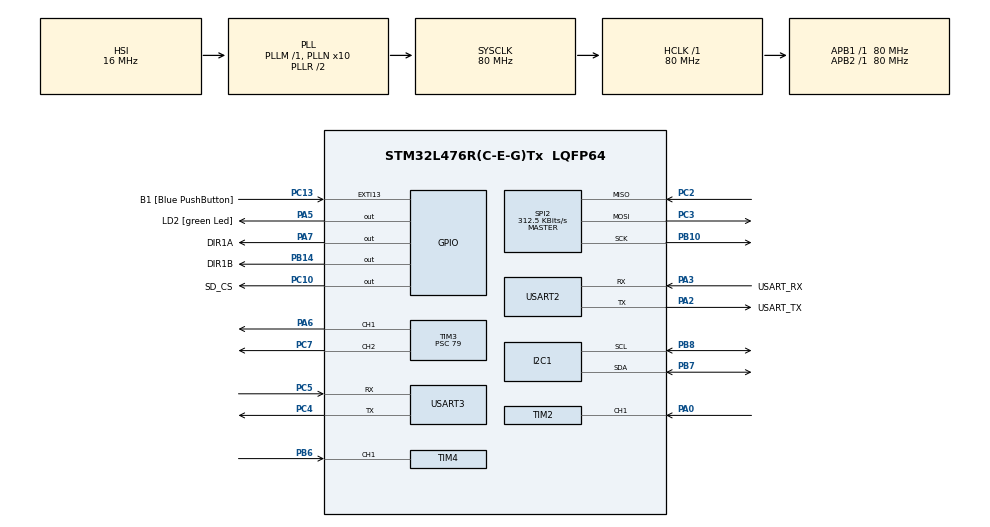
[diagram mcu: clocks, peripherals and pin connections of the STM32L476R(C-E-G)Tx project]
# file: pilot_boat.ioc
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I2C1.CustomTiming=Enabled
I2C1.Timing=0x10D19CE4
Mcu.Family=STM32L4
Mcu.Name=STM32L476R(C-E-G)Tx
Mcu.Package=LQFP64
NVIC.PriorityGroup=NVIC_PRIORITYGROUP_4
NVIC.TIM2_IRQn=true\:8\:0\:true\:false\:true\:true\:true\:true
NVIC.TIM3_IRQn=true\:10\:0\:true\:false\:true\:true\:true\:true
NVIC.TIM4_IRQn=true\:10\:0\:true\:false\:true\:true\:true\:true
NVIC.TIM6_DAC_IRQn=true\:0\:0\:false\:false\:true\:true\:true\:true
PA0.Signal=S_TIM2_CH1
PA13\ (JTMS-SWDIO).GPIO_Label=TMS
PA13\ (JTMS-SWDIO).Mode=Serial_Wire
PA13\ (JTMS-SWDIO).Signal=SYS_JTMS-SWDIO
PA14\ (JTCK-SWCLK).GPIO_Label=TCK
PA14\ (JTCK-SWCLK).Mode=Serial_Wire
PA14\ (JTCK-SWCLK).Signal=SYS_JTCK-SWCLK
PA2.GPIO_Label=USART_TX
PA2.GPIO_Mode=GPIO_MODE_AF_PP
PA2.GPIO_PuPd=GPIO_NOPULL
PA2.GPIO_Speed=GPIO_SPEED_FREQ_VERY_HIGH
PA2.Mode=Asynchronous
PA2.Signal=USART2_TX
PA3.GPIO_Label=USART_RX
PA3.GPIO_Mode=GPIO_MODE_AF_PP
PA3.GPIO_PuPd=GPIO_NOPULL
PA3.GPIO_Speed=GPIO_SPEED_FREQ_VERY_HIGH
PA3.Mode=Asynchronous
PA3.Signal=USART2_RX
PA5.GPIO_Label=LD2 [green Led]
PA5.GPIO_ModeDefaultOutputPP=GPIO_MODE_OUTPUT_PP
PA5.GPIO_PuPd=GPIO_NOPULL
PA5.GPIO_Speed=GPIO_SPEED_FREQ_LOW
PA5.Signal=GPIO_Output
PA6.Signal=S_TIM3_CH1
PA7.GPIO_Label=DIR1A
PA7.Signal=GPIO_Output
PB10.Mode=Full_Duplex_Master
PB10.Signal=SPI2_SCK
PB14.GPIO_Label=DIR1B
PB14.Signal=GPIO_Output
PB3\ (JTDO-TRACESWO).GPIO_Label=SWO
PB3\ (JTDO-TRACESWO).Signal=SYS_JTDO-SWO
PB6.Signal=S_TIM4_CH1
PB7.Mode=I2C
PB7.Signal=I2C1_SDA
PB8.Mode=I2C
PB8.Signal=I2C1_SCL
PC10.GPIO_Label=SD_CS
PC10.Signal=GPIO_Output
PC13.GPIO_Label=B1 [Blue PushButton]
PC13.GPIO_ModeDefaultEXTI=GPIO_MODE_IT_FALLING
PC13.GPIO_PuPd=GPIO_NOPULL
PC13.Signal=GPXTI13
PC14-OSC32_IN\ (PC14).Mode=LSE-External-Oscillator
PC14-OSC32_IN\ (PC14).Signal=RCC_OSC32_IN
PC15-OSC32_OUT\ (PC15).Mode=LSE-External-Oscillator
PC15-OSC32_OUT\ (PC15).Signal=RCC_OSC32_OUT
PC2.Mode=Full_Duplex_Master
PC2.Signal=SPI2_MISO
PC3.Mode=Full_Duplex_Master
PC3.Signal=SPI2_MOSI
PC4.Mode=Asynchronous
PC4.Signal=USART3_TX
PC5.Mode=Asynchronous
PC5.Signal=USART3_RX
PC7.Signal=S_TIM3_CH2
PH0-OSC_IN\ (PH0).Signal=RCC_OSC_IN
PH1-OSC_OUT\ (PH1).Signal=RCC_OSC_OUT
ProjectManager.HeapSize=0x200
ProjectManager.StackSize=0x400
ProjectManager.TargetToolchain=STM32CubeIDE
RCC.ADCFreq_Value=64000000
RCC.AHBFreq_Value=80000000
RCC.APB1Freq_Value=80000000
RCC.APB1TimFreq_Value=80000000
RCC.APB2Freq_Value=80000000
RCC.APB2TimFreq_Value=80000000
RCC.CortexFreq_Value=80000000
RCC.HCLKFreq_Value=80000000
RCC.HSE_VALUE=8000000
RCC.HSI_VALUE=16000000
RCC.MSI_VALUE=4000000
RCC.PLLN=10
RCC.PLLSourceVirtual=RCC_PLLSOURCE_HSI
RCC.PREFETCH_ENABLE=1
RCC.SYSCLKFreq_VALUE=80000000
RCC.SYSCLKSource=RCC_SYSCLKSOURCE_PLLCLK
RCC.USBFreq_Value=64000000
RCC.VCOOutputFreq_Value=160000000
SH.S_TIM2_CH1.0=TIM2_CH1,Input_Capture1_from_TI1
SH.S_TIM2_CH1.1=TIM2_CH1,TriggerSource_TI1FP1
SH.S_TIM3_CH1.0=TIM3_CH1,PWM Generation1 CH1
SH.S_TIM3_CH2.0=TIM3_CH2,PWM Generation2 CH2
SH.S_TIM4_CH1.0=TIM4_CH1,TriggerSource_TI1FP1
SH.S_TIM4_CH1.1=TIM4_CH1,Input_Capture1_from_TI1
SPI2.BaudRatePrescaler=SPI_BAUDRATEPRESCALER_256
SPI2.CalculateBaudRate=312.5 KBits/s
SPI2.DataSize=SPI_DATASIZE_8BIT
SPI2.Direction=SPI_DIRECTION_2LINES
SPI2.Mode=SPI_MODE_MASTER
SPI2.VirtualType=VM_MASTER
TIM2.Channel-Input_Capture1_from_TI1=TIM_CHANNEL_1
TIM2.Channel-Input_Capture2_from_TI1_63=TIM_CHANNEL_2
TIM2.ICPolarity_CH2=TIM_INPUTCHANNELPOLARITY_FALLING
TIM2.Period=999999
TIM2.Prescaler=79
TIM3.Channel-PWM\ Generation1\ CH1=TIM_CHANNEL_1
TIM3.Channel-PWM\ Generation2\ CH2=TIM_CHANNEL_2
TIM3.Period=9999
TIM3.Prescaler=79
TIM3.Pulse-PWM\ Generation1\ CH1=0
TIM4.Channel-Input_Capture1_from_TI1=TIM_CHANNEL_1
TIM4.Channel-Input_Capture2_from_TI1_63=TIM_CHANNEL_2
TIM4.Prescaler=79
TIM6.Period=319
TIM6.Prescaler=49999
USART2.VirtualMode-Asynchronous=VM_ASYNC
USART3.VirtualMode-Asynchronous=VM_ASYNC
VP_TIM2_VS_ClockSourceINT.Mode=Internal
VP_TIM2_VS_ControllerModeReset.Mode=Reset Mode
VP_TIM2_VS_indirect_ch1.Mode=Input_Capture2_from_TI1_63
VP_TIM4_VS_ControllerModeReset.Mode=Reset Mode
VP_TIM4_VS_indirect_ch1.Mode=Input_Capture2_from_TI1_63
VP_TIM6_VS_ClockSourceINT.Mode=Enable_Timer
board=NUCLEO-L476RG

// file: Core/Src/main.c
/* USER CODE BEGIN Header */
/**
  ******************************************************************************
  * @file           : main.c
  * @brief          : Main program body
  ******************************************************************************
  * @attention
  *
  * Copyright (c) 2025 STMicroelectronics.
  * All rights reserved.
  *
  * This software is licensed under terms that can be found in the LICENSE file
  * in the root directory of this software component.
  * If no LICENSE file comes with this software, it is provided AS-IS.
  *
  ******************************************************************************
  */
/* USER CODE END Header */
#include "main.h"
#include "i2c.h"
#include "spi.h"
#include "tim.h"
#include "usart.h"
#include "gpio.h"

/* USER CODE BEGIN Includes */
#include "pilot.h"
#include "MPU6050.h"
#include <stdio.h>
#include <string.h>
#include <stdarg.h>
/* USER CODE END Includes */

/* USER CODE BEGIN PV */
 uint32_t width_steer;
 uint32_t width_throtle;
 int16_t ax, ay, az, gx, gy, gz;
 int steer_type = 1;
 static uint8_t rx_byte;
/* USER CODE END PV */

void SystemClock_Config(void);
/* USER CODE BEGIN PFP */
void myprintf(const char *fmt, ...);
/* USER CODE END PFP */

/* USER CODE BEGIN 0 */

int __io_putchar(int ch)
{
  if (ch == '\n') {
    __io_putchar('\r');
  }

  HAL_UART_Transmit(&huart2, (uint8_t*)&ch, 1, HAL_MAX_DELAY);

  return 1;
}

void HAL_TIM_IC_CaptureCallback(TIM_HandleTypeDef *htim)
{
    if (htim->Instance == TIM2 && htim->Channel == HAL_TIM_ACTIVE_CHANNEL_2)
    {
        width_throtle = HAL_TIM_ReadCapturedValue(htim, TIM_CHANNEL_2);
        if(steer_type == 1){
        	set_speed1(width_throtle);
        }
        else{
        	  set_speed(width_throtle);
        }

    }
    if (htim->Instance == TIM4 && htim->Channel == HAL_TIM_ACTIVE_CHANNEL_2)
        {
    	width_steer = HAL_TIM_ReadCapturedValue(htim, TIM_CHANNEL_2);
    		set_teering(width_steer);
        }

}
void HAL_TIM_PeriodElapsedCallback(TIM_HandleTypeDef *htim){
	 if (htim->Instance == TIM6)
	    {
	    	 	Read_accel(&ax, &ay, &az);
	    	    Read_gyro(&gx, &gy, &gz);

	    	    uint32_t PWM1 = __HAL_TIM_GET_COMPARE(&htim3, TIM_CHANNEL_1);
	    	    uint32_t PWM2 = __HAL_TIM_GET_COMPARE(&htim3, TIM_CHANNEL_2);

	    	    char buf[160];
	    	    int n = snprintf(
	    	        buf,
	    	        sizeof(buf),
	    	        "accel x=%d y=%d z=%d | gyro x=%d y=%d z=%d | PWM1=%lu PWM2=%lu\r\n",
	    	        ax, ay, az,
	    	        gx, gy, gz,
	    	        (unsigned long)PWM1, (unsigned long)PWM2
	    	    );

	    	    if (n > 0)
	    	    {
	    	        HAL_UART_Transmit(&huart3, (uint8_t*)buf, (uint16_t)n, 10);
	    	    }
	    }
}

void HAL_UART_RxCpltCallback(UART_HandleTypeDef *huart)
{
  if (huart == &huart3)
  {
    if (rx_byte == '0') steer_type = 0;
    else if (rx_byte == '1') steer_type = 1;

    HAL_UART_Receive_IT(&huart3, &rx_byte, 1);
  }
}

/* USER CODE END 0 */

int main(void)
{

  /* MCU Configuration--------------------------------------------------------*/

  /* Reset of all peripherals, Initializes the Flash interface and the Systick. */
  HAL_Init();

  /* Configure the system clock */
  SystemClock_Config();

  /* Initialize all configured peripherals */
  MX_GPIO_Init();
  MX_USART2_UART_Init();
  MX_TIM2_Init();
  MX_TIM3_Init();
  MX_I2C1_Init();
  MX_SPI2_Init();
  MX_TIM4_Init();
  MX_USART3_UART_Init();
  MX_TIM6_Init();
  /* USER CODE BEGIN 2 */
  HAL_TIM_Base_Start_IT(&htim3); // PWM for engines

  HAL_TIM_Base_Start_IT(&htim6); // timer for gyro and uart send

  HAL_TIM_IC_Start_IT(&htim2, TIM_CHANNEL_1);
  HAL_TIM_IC_Start_IT(&htim2, TIM_CHANNEL_2); // PWM measurment 1

  HAL_TIM_IC_Start_IT(&htim4, TIM_CHANNEL_1);
  HAL_TIM_IC_Start_IT(&htim4, TIM_CHANNEL_2); // PWM measurment 1

  HAL_TIM_PWM_Start(&htim3, TIM_CHANNEL_1); // PWM for engines
  HAL_TIM_PWM_Start(&htim3, TIM_CHANNEL_2); // PWM for engines

  HAL_UART_Receive_IT(&huart3, &rx_byte, 1);

  init_MPU6050();
  Acel_range_set(MPU6050_RANGE_4_G);
  Gyro_range_set(MPU6050_RANGE_500_DEG);

  // 3s for ESP to set an webpage

  HAL_Delay(3000);

  /* USER CODE END 2 */

  /* Infinite loop */
  while (1)
  {

  }
}

void SystemClock_Config(void)
{
  RCC_OscInitTypeDef RCC_OscInitStruct = {0};
  RCC_ClkInitTypeDef RCC_ClkInitStruct = {0};

  /** Configure the main internal regulator output voltage
  */
  if (HAL_PWREx_ControlVoltageScaling(PWR_REGULATOR_VOLTAGE_SCALE1) != HAL_OK)
  {
    Error_Handler();
  }

  /** Initializes the RCC Oscillators according to the specified parameters
  * in the RCC_OscInitTypeDef structure.
  */
  RCC_OscInitStruct.OscillatorType = RCC_OSCILLATORTYPE_HSI;
  RCC_OscInitStruct.HSIState = RCC_HSI_ON;
  RCC_OscInitStruct.HSICalibrationValue = RCC_HSICALIBRATION_DEFAULT;
  RCC_OscInitStruct.PLL.PLLState = RCC_PLL_ON;
  RCC_OscInitStruct.PLL.PLLSource = RCC_PLLSOURCE_HSI;
  RCC_OscInitStruct.PLL.PLLM = 1;
  RCC_OscInitStruct.PLL.PLLN = 10;
  RCC_OscInitStruct.PLL.PLLP = RCC_PLLP_DIV7;
  RCC_OscInitStruct.PLL.PLLQ = RCC_PLLQ_DIV2;
  RCC_OscInitStruct.PLL.PLLR = RCC_PLLR_DIV2;
  if (HAL_RCC_OscConfig(&RCC_OscInitStruct) != HAL_OK)
  {
    Error_Handler();
  }

  /** Initializes the CPU, AHB and APB buses clocks
  */
  RCC_ClkInitStruct.ClockType = RCC_CLOCKTYPE_HCLK|RCC_CLOCKTYPE_SYSCLK
                              |RCC_CLOCKTYPE_PCLK1|RCC_CLOCKTYPE_PCLK2;
  RCC_ClkInitStruct.SYSCLKSource = RCC_SYSCLKSOURCE_PLLCLK;
  RCC_ClkInitStruct.AHBCLKDivider = RCC_SYSCLK_DIV1;
  RCC_ClkInitStruct.APB1CLKDivider = RCC_HCLK_DIV1;
  RCC_ClkInitStruct.APB2CLKDivider = RCC_HCLK_DIV1;

  if (HAL_RCC_ClockConfig(&RCC_ClkInitStruct, FLASH_LATENCY_4) != HAL_OK)
  {
    Error_Handler();
  }
}

void Error_Handler(void)
{
  __disable_irq();
  while (1)
  {
  }
}
